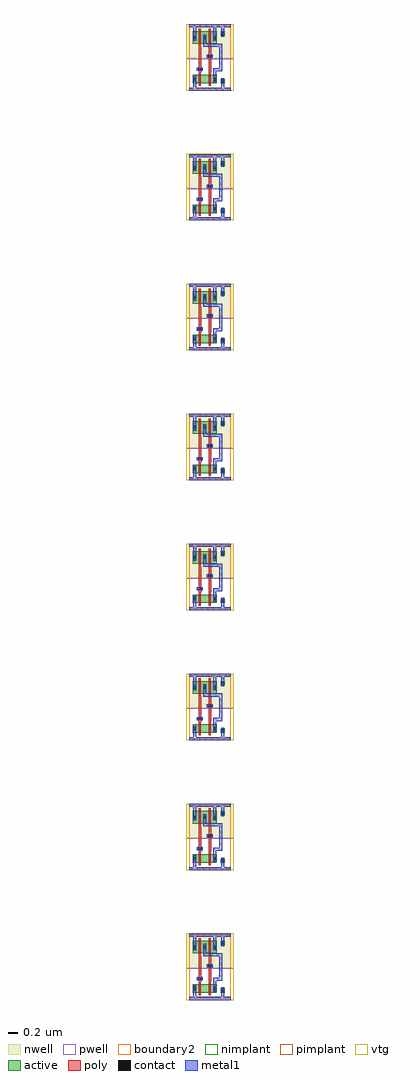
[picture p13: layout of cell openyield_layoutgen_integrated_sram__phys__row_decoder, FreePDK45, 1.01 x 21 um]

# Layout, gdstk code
import gdstk
lib = gdstk.Library(unit=1e-6, precision=1e-09)
def R(c, l, rs):  # rectangles x0, y0, x1, y1
    for r in rs: c.add(gdstk.rectangle(r[:2], r[2:], *l))
active = (1, 0)
pwell = (2, 0)
nwell = (3, 0)
nimplant = (4, 0)
pimplant = (5, 0)
vtg = (6, 0)
poly = (9, 0)
contact = (10, 0)
metal1 = (11, 0)
boundary2 = (239, 0)

sram_1rw_32x16_freepdk45 = lib.new_cell('sram_1rw_32x16_freepdk45_contact_11')
R(sram_1rw_32x16_freepdk45, active, [(0,0.022,0.09,0.112)])
R(sram_1rw_32x16_freepdk45, nwell, [(-0.055,-0.033,0.145,0.168)])
R(sram_1rw_32x16_freepdk45, pimplant, [(0,0.022,0.09,0.112)])
R(sram_1rw_32x16_freepdk45, contact, [(0.013,0.035,0.077,0.1)])
R(sram_1rw_32x16_freepdk45, metal1, [(0.013,0,0.077,0.135)])
R(sram_1rw_32x16_freepdk45, boundary2, [(-0.055,-0.033,0.145,0.168)])

c_sram_1rw_32x16_freepdk45 = lib.new_cell('sram_1rw_32x16_freepdk45_pmos_m1_w0_270_sm1_dm1')
R(c_sram_1rw_32x16_freepdk45, active, [(0,0,0.305,0.27)])
R(c_sram_1rw_32x16_freepdk45, nwell, [(-0.08,-0.08,0.385,0.35)])
R(c_sram_1rw_32x16_freepdk45, pimplant, [(0,0,0.305,0.27)])
R(c_sram_1rw_32x16_freepdk45, vtg, [(-0.08,-0.08,0.385,0.35)])
R(c_sram_1rw_32x16_freepdk45, poly, [(0.127,-0.055,0.177,0.325), (0.127,-0.055,0.177,0.325)])
R(c_sram_1rw_32x16_freepdk45, metal1, [(0.013,0.068,0.077,0.203), (0.227,0.068,0.292,0.203)])
R(c_sram_1rw_32x16_freepdk45, boundary2, [(-0.08,-0.08,0.385,0.35)])
c_sram_1rw_32x16_freepdk45.add(gdstk.Reference(sram_1rw_32x16_freepdk45, (0,0.068)))
c_sram_1rw_32x16_freepdk45.add(gdstk.Reference(sram_1rw_32x16_freepdk45, (0.215,0.068)))
c_sram_1rw_32x16_freepdk45.add(gdstk.Label('G', (0.152,0.135), layer=9, texttype=0))
c_sram_1rw_32x16_freepdk45.add(gdstk.Label('S', (0.045,0.135), layer=11, texttype=0))
c_sram_1rw_32x16_freepdk45.add(gdstk.Label('D', (0.26,0.135), layer=11, texttype=0))

c_sram_1rw_32x16_freepdk45_ = lib.new_cell('sram_1rw_32x16_freepdk45_contact_10')
R(c_sram_1rw_32x16_freepdk45_, active, [(0,0.022,0.09,0.112)])
R(c_sram_1rw_32x16_freepdk45_, pwell, [(-0.055,-0.033,0.145,0.168)])
R(c_sram_1rw_32x16_freepdk45_, nimplant, [(0,0.022,0.09,0.112)])
R(c_sram_1rw_32x16_freepdk45_, contact, [(0.013,0.035,0.077,0.1)])
R(c_sram_1rw_32x16_freepdk45_, metal1, [(0.013,0,0.077,0.135)])
R(c_sram_1rw_32x16_freepdk45_, boundary2, [(-0.055,-0.033,0.145,0.168)])

c_sram_1rw_32x16_freepdk45__ = lib.new_cell('sram_1rw_32x16_freepdk45_nmos_m1_w0_180_sm1_dactive')
R(c_sram_1rw_32x16_freepdk45__, active, [(0,0,0.305,0.18), (0.215,0.045,0.305,0.135)])
R(c_sram_1rw_32x16_freepdk45__, pwell, [(-0.08,-0.08,0.385,0.26)])
R(c_sram_1rw_32x16_freepdk45__, nimplant, [(0,0,0.305,0.18)])
R(c_sram_1rw_32x16_freepdk45__, vtg, [(-0.08,-0.08,0.385,0.26)])
R(c_sram_1rw_32x16_freepdk45__, poly, [(0.127,-0.055,0.177,0.235), (0.127,-0.055,0.177,0.235)])
R(c_sram_1rw_32x16_freepdk45__, metal1, [(0.013,0.022,0.077,0.157)])
R(c_sram_1rw_32x16_freepdk45__, boundary2, [(-0.08,-0.08,0.385,0.26)])
c_sram_1rw_32x16_freepdk45__.add(gdstk.Reference(c_sram_1rw_32x16_freepdk45_, (0,0.022)))
c_sram_1rw_32x16_freepdk45__.add(gdstk.Label('G', (0.152,0.09), layer=9, texttype=0))
c_sram_1rw_32x16_freepdk45__.add(gdstk.Label('S', (0.045,0.09), layer=11, texttype=0))
c_sram_1rw_32x16_freepdk45__.add(gdstk.Label('D', (0.26,0.09), layer=1, texttype=0))

c_sram_1rw_32x16_freepdk45___ = lib.new_cell('sram_1rw_32x16_freepdk45_nmos_m1_w0_180_sactive_dm1')
R(c_sram_1rw_32x16_freepdk45___, active, [(0,0,0.305,0.18), (0,0.045,0.09,0.135)])
R(c_sram_1rw_32x16_freepdk45___, pwell, [(-0.08,-0.08,0.385,0.26)])
R(c_sram_1rw_32x16_freepdk45___, nimplant, [(0,0,0.305,0.18)])
R(c_sram_1rw_32x16_freepdk45___, vtg, [(-0.08,-0.08,0.385,0.26)])
R(c_sram_1rw_32x16_freepdk45___, poly, [(0.127,-0.055,0.177,0.235), (0.127,-0.055,0.177,0.235)])
R(c_sram_1rw_32x16_freepdk45___, metal1, [(0.227,0.022,0.292,0.157)])
R(c_sram_1rw_32x16_freepdk45___, boundary2, [(-0.08,-0.08,0.385,0.26)])
c_sram_1rw_32x16_freepdk45___.add(gdstk.Reference(c_sram_1rw_32x16_freepdk45_, (0.215,0.022)))
c_sram_1rw_32x16_freepdk45___.add(gdstk.Label('G', (0.152,0.09), layer=9, texttype=0))
c_sram_1rw_32x16_freepdk45___.add(gdstk.Label('S', (0.045,0.09), layer=1, texttype=0))
c_sram_1rw_32x16_freepdk45___.add(gdstk.Label('D', (0.26,0.09), layer=11, texttype=0))

c_sram_1rw_32x16_freepdk45____ = lib.new_cell('sram_1rw_32x16_freepdk45_contact_12')
R(c_sram_1rw_32x16_freepdk45____, active, [(0,0.022,0.09,0.112)])
R(c_sram_1rw_32x16_freepdk45____, nwell, [(-0.055,-0.033,0.145,0.168)])
R(c_sram_1rw_32x16_freepdk45____, nimplant, [(0,0.022,0.09,0.112)])
R(c_sram_1rw_32x16_freepdk45____, contact, [(0.013,0.035,0.077,0.1)])
R(c_sram_1rw_32x16_freepdk45____, metal1, [(0.013,0,0.077,0.135)])
R(c_sram_1rw_32x16_freepdk45____, boundary2, [(-0.055,-0.033,0.145,0.168)])

c_sram_1rw_32x16_freepdk45_____ = lib.new_cell('sram_1rw_32x16_freepdk45_contact_13')
R(c_sram_1rw_32x16_freepdk45_____, active, [(0,0.022,0.09,0.112)])
R(c_sram_1rw_32x16_freepdk45_____, pwell, [(-0.055,-0.033,0.145,0.168)])
R(c_sram_1rw_32x16_freepdk45_____, pimplant, [(0,0.022,0.09,0.112)])
R(c_sram_1rw_32x16_freepdk45_____, contact, [(0.013,0.035,0.077,0.1)])
R(c_sram_1rw_32x16_freepdk45_____, metal1, [(0.013,0,0.077,0.135)])
R(c_sram_1rw_32x16_freepdk45_____, boundary2, [(-0.055,-0.033,0.145,0.168)])

c_sram_1rw_32x16_freepdk45______ = lib.new_cell('sram_1rw_32x16_freepdk45_contact_14')
R(c_sram_1rw_32x16_freepdk45______, poly, [(0.03,0,0.105,0.075)])
R(c_sram_1rw_32x16_freepdk45______, contact, [(0.035,0.005,0.1,0.07)])
R(c_sram_1rw_32x16_freepdk45______, metal1, [(0,0.005,0.135,0.07)])
R(c_sram_1rw_32x16_freepdk45______, boundary2, [(0,0,0.135,0.075)])

gen_nand2 = lib.new_cell('gen_nand2')
R(gen_nand2, pwell, [(-0.055,-0.033,0.957,0.655)])
R(gen_nand2, nwell, [(-0.055,0.655,0.957,1.4)])
R(gen_nand2, vtg, [(-0.055,-0.033,0.957,0.655), (-0.055,0.655,0.957,1.4)])
R(gen_nand2, poly, [(0.208,0.36,0.258,0.915), (0.422,0.36,0.473,0.915), (0.208,0.39,0.232,0.465), (0.422,0.67,0.447,0.745)])
R(gen_nand2, metal1, [(0,-0.033,0.902,0.033), (0.092,-0.033,0.157,0.147), (0.692,0,0.758,0.17), (0.522,0.283,0.588,0.413), (0.522,0.38,0.588,0.445), (0.555,0.38,0.685,0.445), (0.652,0.38,0.718,0.445), (0.165,0.395,0.3,0.46), (0.652,0.413,0.718,0.94), (0.38,0.675,0.515,0.74), (0.307,0.907,0.372,0.972), (0.34,0.907,0.685,0.972), (0.652,0.907,0.718,0.972), (0.307,0.94,0.372,1.038), (0.092,1.038,0.157,1.397), (0.522,1.038,0.588,1.397), (0.692,1.195,0.758,1.365), (0,1.332,0.902,1.397)])
R(gen_nand2, boundary2, [(0,0,0.902,1.365), (0,0,0.902,1.365)])
gen_nand2.add(gdstk.Reference(c_sram_1rw_32x16_freepdk45, (0.08,0.97)))
gen_nand2.add(gdstk.Reference(c_sram_1rw_32x16_freepdk45, (0.295,0.97)))
gen_nand2.add(gdstk.Reference(c_sram_1rw_32x16_freepdk45__, (0.08,0.125)))
gen_nand2.add(gdstk.Reference(c_sram_1rw_32x16_freepdk45___, (0.295,0.125)))
gen_nand2.add(gdstk.Reference(c_sram_1rw_32x16_freepdk45____, (0.68,1.127)))
gen_nand2.add(gdstk.Reference(c_sram_1rw_32x16_freepdk45_____, (0.68,0.103)))
gen_nand2.add(gdstk.Reference(c_sram_1rw_32x16_freepdk45______, (0.165,0.39)))
gen_nand2.add(gdstk.Reference(c_sram_1rw_32x16_freepdk45______, (0.38,0.67)))
gen_nand2.add(gdstk.Label('Z', (0.685,0.94), layer=11, texttype=0))
gen_nand2.add(gdstk.Label('gnd', (0.45,0), layer=11, texttype=0))
gen_nand2.add(gdstk.Label('vdd', (0.45,1.365), layer=11, texttype=0))
gen_nand2.add(gdstk.Label('A', (0.232,0.427), layer=11, texttype=0))
gen_nand2.add(gdstk.Label('B', (0.447,0.707), layer=11, texttype=0))

openyield_layoutgen_inte = lib.new_cell('openyield_layoutgen_integrated_sram__phys__row_decoder')
openyield_layoutgen_inte.add(gdstk.Reference(gen_nand2, (6.737,20.148)))
openyield_layoutgen_inte.add(gdstk.Reference(gen_nand2, (6.737,22.942)))
openyield_layoutgen_inte.add(gdstk.Reference(gen_nand2, (6.737,25.737)))
openyield_layoutgen_inte.add(gdstk.Reference(gen_nand2, (6.737,28.532)))
openyield_layoutgen_inte.add(gdstk.Reference(gen_nand2, (6.737,31.327)))
openyield_layoutgen_inte.add(gdstk.Reference(gen_nand2, (6.737,34.123)))
openyield_layoutgen_inte.add(gdstk.Reference(gen_nand2, (6.737,36.918)))
openyield_layoutgen_inte.add(gdstk.Reference(gen_nand2, (6.737,39.712)))

lib.write_gds('openyield_layoutgen_integrated_sram__phys__row_decoder.gds')
